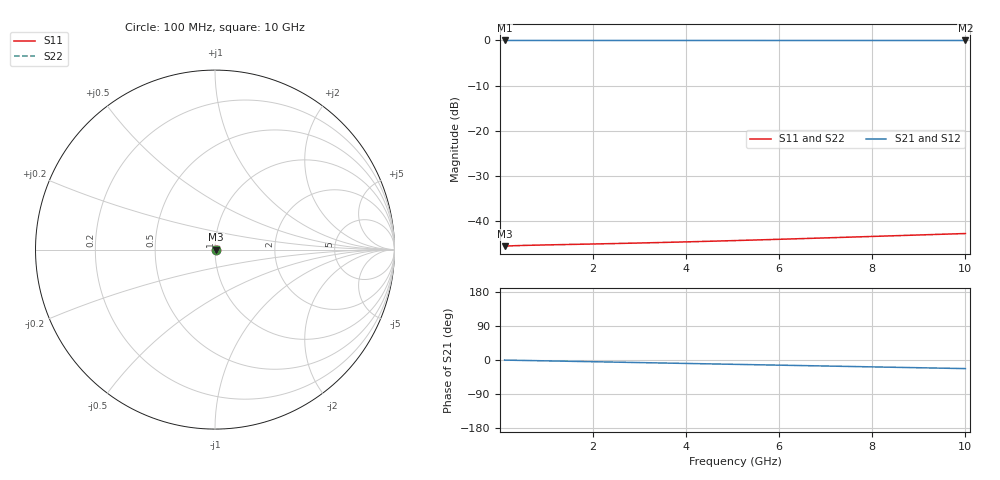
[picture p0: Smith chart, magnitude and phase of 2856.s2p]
# Hz S RI R 50.00
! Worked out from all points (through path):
!   100 points, 100 MHz to 10 GHz, reference 50 ohm
!   highest |S21| = -0.05 dB at 100 MHz (marker M1); lowest = -0.1 dB at 10 GHz (marker M2)
!   group delay of S21, straight-line fit = 6.3 ps
!   lowest |S11| = -45.4 dB at 100 MHz (marker M3), VSWR 1.01, Z = 50.5 + j0.00276 ohm
!   |S11| at or under -10 dB: start of sweep to end of sweep
!   |S22| runs from -45.4 to -42.7 dB; largest |S21 - S12| = 0
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1e8  0.00534 2.73e-05  0.9946 -0.00394  0.9946 -0.00394  0.00534 2.73e-05
2e8  0.00538 5.42e-05  0.9946 -0.00787  0.9946 -0.00787  0.00538 5.42e-05
3e8  0.0054 8.11e-05  0.9945 -0.0118  0.9945 -0.0118  0.0054 8.11e-05
4e8  0.00542 0.000108  0.9944 -0.0157  0.9944 -0.0157  0.00542 0.000108
6e8  0.00546 0.000161  0.9942 -0.0236  0.9942 -0.0236  0.00546 0.000161
1e9  0.00551 0.000266  0.9937 -0.0394  0.9937 -0.0394  0.00551 0.000266
1.8e9  0.0056 0.000471  0.9919 -0.0708  0.9919 -0.0708  0.0056 0.000471
2.2e9  0.00564 0.000572  0.9906 -0.0865  0.9906 -0.0865  0.00564 0.000572
2.6e9  0.00569 0.000671  0.989 -0.1022  0.989 -0.1022  0.00569 0.000671
3e9  0.00574 0.000768  0.9873 -0.1178  0.9873 -0.1178  0.00574 0.000768
3.4e9  0.00579 0.000864  0.9852 -0.1334  0.9852 -0.1334  0.00579 0.000864
3.8e9  0.00585 0.000957  0.983 -0.149  0.983 -0.149  0.00585 0.000957
4.2e9  0.0059 0.00105  0.9805 -0.1645  0.9805 -0.1645  0.0059 0.00105
4.6e9  0.00596 0.00114  0.9777 -0.18  0.9777 -0.18  0.00596 0.00114
5.1e9  0.00604 0.00124  0.9739 -0.1994  0.9739 -0.1994  0.00604 0.00124
5.9e9  0.00618 0.00141  0.967 -0.2301  0.967 -0.2301  0.00618 0.00141
6.7e9  0.00633 0.00156  0.9592 -0.2606  0.9592 -0.2606  0.00633 0.00156
7.5e9  0.0065 0.0017  0.9504 -0.2909  0.9504 -0.2909  0.0065 0.0017
7.9e9  0.00658 0.00176  0.9456 -0.3059  0.9456 -0.3059  0.00658 0.00176
8.4e9  0.0067 0.00184  0.9393 -0.3246  0.9393 -0.3246  0.0067 0.00184
9.2e9  0.00688 0.00195  0.9285 -0.3542  0.9285 -0.3542  0.00688 0.00195
1e10  0.00708 0.00204  0.9168 -0.3835  0.9168 -0.3835  0.00708 0.00204
